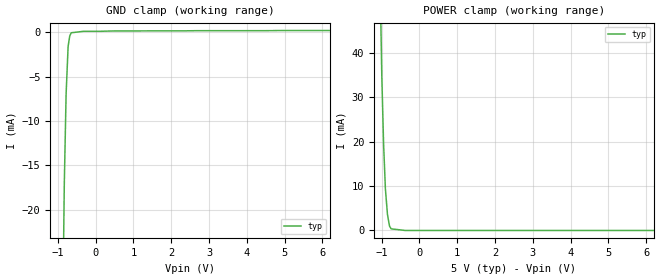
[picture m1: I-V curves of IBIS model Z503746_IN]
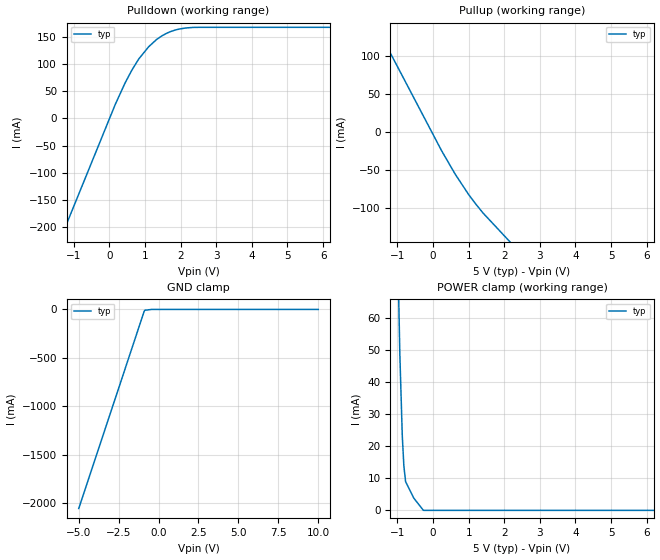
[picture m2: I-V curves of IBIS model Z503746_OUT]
| YOU ARE ONLY AUTHORIZED TO USE THIS SOFTWARE
| ACCORDING TO LICENSOR'S LICENSE RESTRICTIONS.
[IBIS Ver] 3.1
[File Name] mc74ac160n.ibs
[File Rev] 2.0
[Source] Measured and created by ICX Technology
[Date] Friday 7/14/00 9:07:59 AM
[Copyright]
| (C) COPYRIGHT 1993-2000
| MENTOR GRAPHICS CORPORATION
| ICX STANDARD LIBRARY, ICX PROJECT MODELING,
| ICX CUSTOM MODELING, ICX VENDOR MODEL
| ALL RIGHTS RESERVED.
| THE FOLLOWING ARE TRADEMARKS OR SERVICE MARKS OF
| MENTOR GRAPHICS CORPORATION:ICX (R), ICX STANDARD
| LIBRARY(R), ICX PROJECT MODELING(R), ICX CUSTOM
| MODELING(R), qualityIBIS(TM), MODELVIEWER(TM),
| AND MODELEDITOR(TM)
| ALL COPIES OF SOFTWARE, INCLUDING BUT NOT LIMITED TO
| ANY MODIFICATIONS, ENHANCEMENTS OR DERIVATIVE WORKS,
| MUST CONTAIN ALL MENTOR GRAPHICS CORPORATION'S
| NOTICES AND LEGENDS, INCLUDING THOSE EMBEDDED IN
| SOFTWARE AND THOSE AFFIXED TO SOFTWARE MEDIUM
| AND CONTAINER, AS RECEIVED FROM MENTOR GRAPHICS
| CORPORATION.
|  ZAP Model Builder 2.7
[Component] MC74AC160N
[Manufacturer] OnSemiconductor
[Package]
| variable   typ   min   max
R_pkg  .212ohms NA NA
L_pkg  4.758nH NA NA
C_pkg  1.143pF NA NA
[Pin] signal_name  model_name  R_pin  L_pin C_pin
1 _CLR Z503746_IN .224 7.258n 1.578p
2 CLK Z503746_IN .216 5.258n 1.288p
3 A Z503746_IN .208 3.758n .998p
4 B Z503746_IN .2 2.758n .708p
5 C Z503746_IN .2 2.758n .708p
6 D Z503746_IN .208 3.758n .998p
7 ENP Z503746_IN .216 5.258n 1.288p
8 GND GND .224 7.258n 1.578p
9 _LOAD Z503746_IN .224 7.258n 1.578p
10 ENT Z503746_IN .216 5.258n 1.288p
11 QD Z503746_OUT .208 3.758n .998p
12 QC Z503746_OUT .2 2.758n .708p
13 QB Z503746_OUT .2 2.758n .708p
14 QA Z503746_OUT .208 3.758n .998p
15 RCO Z503746_OUT .216 5.258n 1.288p
16 VCC POWER .224 7.258n 1.578p
| Models and submodels in the file (2): Z503746_IN (Input), Z503746_OUT (Output)
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| (C) COPYRIGHT 1993-2000
| MENTOR GRAPHICS CORPORATION
| ICX STANDARD LIBRARY, ICX PROJECT MODELING,
| ICX CUSTOM MODELING, ICX VENDOR MODEL
| ALL RIGHTS RESERVED.
| THE FOLLOWING ARE TRADEMARKS OR SERVICE MARKS OF
| MENTOR GRAPHICS CORPORATION:ICX (R), ICX STANDARD
| LIBRARY(R), ICX PROJECT MODELING(R), ICX CUSTOM
| MODELING(R), qualityIBIS(TM), MODELVIEWER(TM),
| AND MODELEDITOR(TM)
| ALL COPIES OF SOFTWARE, INCLUDING BUT NOT LIMITED TO
| ANY MODIFICATIONS, ENHANCEMENTS OR DERIVATIVE WORKS,
| MUST CONTAIN ALL MENTOR GRAPHICS CORPORATION'S
| NOTICES AND LEGENDS, INCLUDING THOSE EMBEDDED IN
| SOFTWARE AND THOSE AFFIXED TO SOFTWARE MEDIUM
| AND CONTAINER, AS RECEIVED FROM MENTOR GRAPHICS
| CORPORATION.
| Model Application Version 1.89 2/18/99.
[Model] Z503746_IN
Model_type Input
Vinl = 1.500V
Vinh = 3.500V
C_comp 4.000pF NA NA
| variable typ   min   max
[Voltage Range] 5.000V NA NA
[GND Clamp Reference] 0.000V NA NA
[POWER Clamp Reference] 5.000V NA NA
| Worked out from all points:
|   GND clamp passes 1 mA (typ) near -0.71 V on its own axis
|   POWER clamp passes 1 mA (typ) near -0.79 V on its own axis
[GND Clamp]
-5V       -3.28A     NA         NA
-1.001V   -79.04mA   NA         NA
-829.4mV  -17.17mA   NA         NA
-781.3mV  -6.972mA   NA         NA
-727.8mV  -1.596mA   NA         NA
-684.5mV  -430uA     NA         NA
-645.2mV  -74.57uA   NA         NA
-322.6mV  90.98uA    NA         NA
488mV     131.2uA    NA         NA
10V       178.4uA    NA         NA
[POWER Clamp]
-5V       2.647A     NA         NA
-1.113V   91.62mA    NA         NA
-994mV    34.62mA    NA         NA
-947mV    19.45mA    NA         NA
-899mV    9.349mA    NA         NA
-845mV    3.622mA    NA         NA
-791mV    1.013mA    NA         NA
-747mV    368.1uA    NA         NA
-373.5mV  0A         NA         NA
10V       0A         NA         NA
| (C) COPYRIGHT 1993-2000
| MENTOR GRAPHICS CORPORATION
| ICX STANDARD LIBRARY, ICX PROJECT MODELING,
| ICX CUSTOM MODELING, ICX VENDOR MODEL
| ALL RIGHTS RESERVED.
| THE FOLLOWING ARE TRADEMARKS OR SERVICE MARKS OF
| MENTOR GRAPHICS CORPORATION:ICX (R), ICX STANDARD
| LIBRARY(R), ICX PROJECT MODELING(R), ICX CUSTOM
| MODELING(R), qualityIBIS(TM), MODELVIEWER(TM),
| AND MODELEDITOR(TM)
| ALL COPIES OF SOFTWARE, INCLUDING BUT NOT LIMITED TO
| ANY MODIFICATIONS, ENHANCEMENTS OR DERIVATIVE WORKS,
| MUST CONTAIN ALL MENTOR GRAPHICS CORPORATION'S
| NOTICES AND LEGENDS, INCLUDING THOSE EMBEDDED IN
| SOFTWARE AND THOSE AFFIXED TO SOFTWARE MEDIUM
| AND CONTAINER, AS RECEIVED FROM MENTOR GRAPHICS
| CORPORATION.
| Model Application Version 1.89 2/18/99.
[Model] Z503746_OUT
Model_type Output
Vref=0.000V
Rref=500.0ohms
Cref=50.00pF
Vmeas=2.500V
C_comp 8.000pF NA NA
| variable typ   min   max
[Voltage Range] 5.000V NA NA
[POWER Clamp Reference] 5.000V NA NA
[Pullup Reference] 5.000V NA NA
[Pulldown Reference] 0.000V NA NA
[GND Clamp Reference] 0.000V NA NA
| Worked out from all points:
|   slope of the pulldown table from 0 to 0.75 V, typ, clamps not added: 7.37 ohm
|   slope of the pullup table from 0 to 0.75 V, typ, clamps not added: 12.2 ohm
[GND Clamp]
-5V       -2.058A    NA         NA
-917.9mV  -27.39mA   NA         NA
-868.5mV  -8.713mA   NA         NA
-434.2mV  0A         NA         NA
10V       0A         NA         NA
[Pulldown]
-5V       -802.6mA   NA         NA
161.3mV   25.56mA    NA         NA
436.3mV   64.89mA    NA         NA
629.8mV   88.82mA    NA         NA
825.3mV   109.4mA    NA         NA
1.104V    131.8mA    NA         NA
1.328V    145.1mA    NA         NA
1.481V    151.9mA    NA         NA
1.713V    159.3mA    NA         NA
1.964V    164.1mA    NA         NA
2.381V    167.1mA    NA         NA
10V       167.2mA    NA         NA
[Pullup]
-5V       445mA      NA         NA
238mV     -24.45mA   NA         NA
623mV     -55.7mA    NA         NA
1.011V    -83.28mA   NA         NA
1.199V    -94.98mA   NA         NA
1.406V    -107mA     NA         NA
10V       -539.5mA   NA         NA
[POWER Clamp]
-5V       2.977A     NA         NA
-1.016V   94.15mA    NA         NA
-933mV    48.59mA    NA         NA
-864mV    23.07mA    NA         NA
-820mV    13.81mA    NA         NA
-771mV    8.943mA    NA         NA
-542mV    3.828mA    NA         NA
-271mV    0A         NA         NA
10V       0A         NA         NA
[Ramp]
| variable typ min max
dV/dt_r 2.954/322.1p NA NA
dV/dt_f 2.954/376.5p NA NA
R_load = 500.0Ohms
